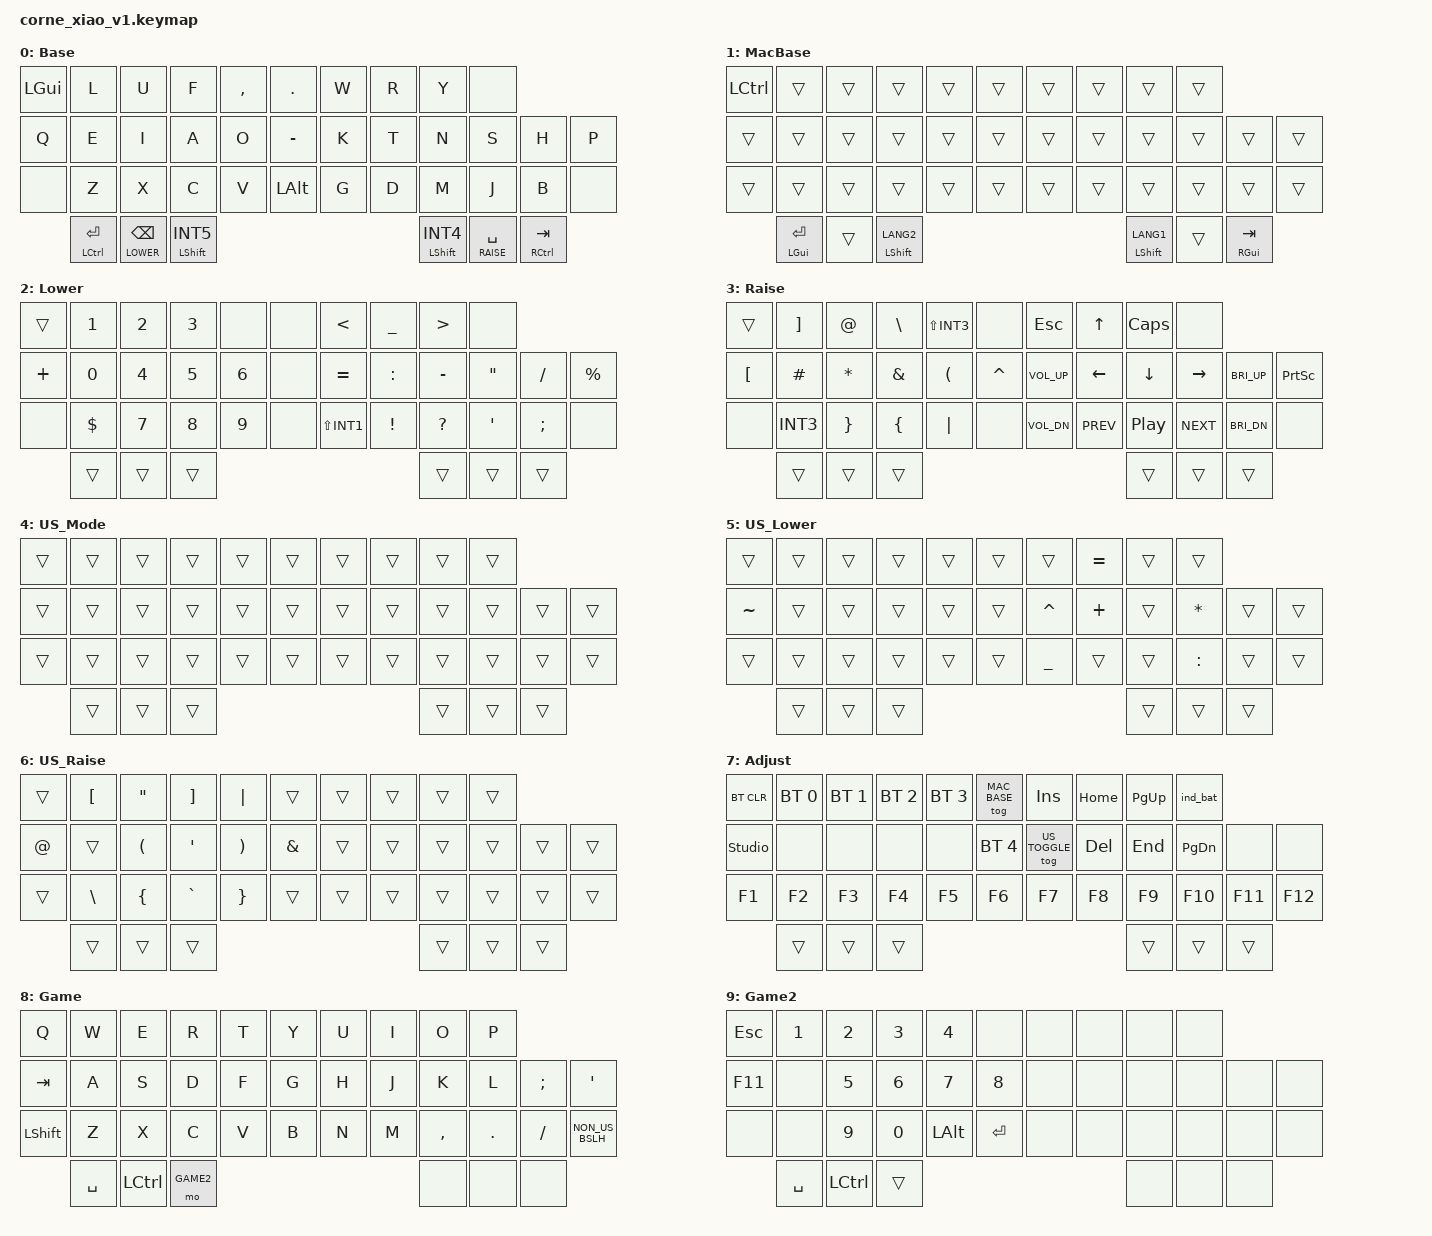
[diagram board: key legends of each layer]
/* source: 1-5 (User Provided Definitions) */
#define JP_DQUOTE       AT                // "
#define JP_AMPERSAND    CARET             // &
#define JP_QUOTE        AMPERSAND         // '
#define JP_EQUAL        UNDER             // =
#define JP_CARET        EQUAL             // ^
#define JP_YEN          INT3              // ¥ (ZMK standard usually matches this to correct scancode)
#define JP_PLUS         COLON             // +
#define JP_TILDE        PLUS              // ~
#define JP_PIPE         LS(INT3)          // |
#define JP_AT           LEFT_BRACKET      // @
#define JP_COLON        SINGLE_QUOTE      // :
#define JP_ASTERISK     DOUBLE_QUOTES     // *
#define JP_BACKQUOTE    LEFT_BRACE        // `
#define JP_UNDERSCORE   LS(INT1)          // _ (Standard JIS underscore)
#define JP_LBRACKET     RIGHT_BRACKET     // [
#define JP_RBRACKET     BACKSLASH         // ]
#define JP_LPAREN       ASTERISK          // (
#define JP_RPAREN       LEFT_PARENTHESIS  // )
#define JP_LBRACE       RIGHT_BRACE       // {
#define JP_RBRACE       PIPE              // }
#define JP_KANA         INT4             // かな
#define JP_EISU         INT5             // 英数
#define JP_HANZEN       GRAVE             // 半角/全角

#include <behaviors.dtsi>
#include <dt-bindings/zmk/keys.h>
#include <dt-bindings/zmk/bt.h>
#include <dt-bindings/zmk/pointing.h> // マウスキー用
#include <behaviors/rgbled_widget.dtsi>

/* レイヤー定義 */
#define BASE 0
#define MAC_BASE 1
#define LOWER 2
#define RAISE 3
#define US_TOGGLE 4
#define US_LOWER 5
#define US_RAISE 6
#define ADJUST 7
#define GAME 8
#define GAME2 9

/ {
    behaviors {
        /* 親指用 Mod-Tap (Ctrl/Tab, Ctrl/Enter) */
        mt_thumb: thumb_mod_tap {
            compatible = "zmk,behavior-hold-tap";
            label = "THUMB_MOD_TAP";
            #binding-cells = <2>;
            flavor = "hold-preferred";           // 親指はホールド優先
            tapping-term-ms = <200>;
            bindings = <&kp>, <&kp>;
        };

        /* Use for Backspace: Tap = BSPC, Hold = Layer, Quick-Tap = Repeat BSPC */
        lt_bspc: layer_tap_backspace {
            compatible = "zmk,behavior-hold-tap";
            label = "LAYER_TAP_BACKSPACE";
            #binding-cells = <2>;
            flavor = "balanced";
            tapping-term-ms = <200>;
            quick-tap-ms = <175>;
            bindings = <&mo>, <&kp>;
        };

        /* Improved Layer-Tap for Arrows (Raise/Space) */
        lt_raise: layer_tap_raise {
            compatible = "zmk,behavior-hold-tap";
            label = "LAYER_TAP_RAISE";
            #binding-cells = <2>;
            flavor = "balanced";                 // Balanced for easier activation of layer
            tapping-term-ms = <200>;
            quick-tap-ms = <175>;
            bindings = <&mo>, <&kp>;
        };
    };

    combos {
        compatible = "zmk,combos";

        /* C + V + D + M = Gaming Layer Toggle */
        /* Positions: C=25, V=26, D=29, M=30 */
        combo_gamemode {
            timeout-ms = <50>;
            key-positions = <25 26 29 30>;
            bindings = <&tog GAME>;
            layers = <BASE MAC_BASE GAME>;
        };
    };

    /* Conditional Layer: Lower + Raise = Adjust, plus US overrides */
    conditional_layers {
        compatible = "zmk,conditional-layers";

        us_lower_cond {
            if-layers = <LOWER US_TOGGLE>;
            then-layer = <US_LOWER>;
        };
        
        us_raise_cond {
            if-layers = <RAISE US_TOGGLE>;
            then-layer = <US_RAISE>;
        };

        tri_layer {
            if-layers = <LOWER RAISE>;
            then-layer = <ADJUST>;
        };
    };

    keymap {
        compatible = "zmk,keymap";

        /* Layer 0: Base */
        default_layer {
            display-name = "Base";
            bindings = <
/* TOP */  &kp LGUI    &kp L      &kp U       &kp F       &kp COMMA      &kp DOT      &kp W       &kp R       &kp Y        &none
/* MID */  &kp Q       &kp E      &kp I       &kp A       &kp O          &kp MINUS    &kp K       &kp T          &kp N          &kp S     &kp H     &kp P
/* BOT */  &none       &kp Z      &kp X       &kp C       &kp V          &kp LALT     &kp G       &kp D       &kp M        &kp J     &kp B     &none
/* THUMB */            &mt_thumb LCTRL RET    &lt_bspc LOWER BSPC  &mt_thumb LSHIFT JP_EISU  &mt_thumb LSHIFT JP_KANA  &lt_raise RAISE SPACE  &mt_thumb RCTRL TAB
            >;
        };

        /* Layer 1: Mac Base (Overlay for modifiers) */
        mac_base_layer {
            display-name = "MacBase";
            bindings = <
/* TOP */  &kp LCTRL   &trans     &trans      &trans      &trans         &trans       &trans      &trans      &trans       &trans
/* MID */  &trans      &trans     &trans      &trans      &trans         &trans       &trans      &trans      &trans       &trans    &trans    &trans
/* BOT */  &trans      &trans     &trans      &trans      &trans         &trans       &trans      &trans      &trans       &trans    &trans    &trans
/* THUMB */            &mt_thumb LGUI RET     &trans      &mt_thumb LSHIFT LANG2  &mt_thumb LSHIFT LANG1  &trans      &mt_thumb RGUI TAB
            >;
        };

        /* Layer 2: Lower (Backspace hold) */
        lower_layer {
            display-name = "Lower";
            bindings = <
/* TOP */  &trans      &kp N1     &kp N2      &kp N3      &none          &none        &kp LESS_THAN &kp JP_EQUAL  &kp GREATER_THAN &none
/* MID */  &kp JP_TILDE &kp N0    &kp N4      &kp N5      &kp N6         &none        &kp JP_CARET  &kp JP_PLUS &kp MINUS    &kp JP_ASTERISK &kp FSLH &kp PRCNT
/* BOT */  &none       &kp DOLLAR &kp N7      &kp N8      &kp N9         &none        &kp JP_UNDERSCORE &kp EXCL &kp QMARK   &kp JP_COLON  &kp SEMI &none
/* THUMB */            &trans                 &trans      &trans             &trans       &trans          &trans
            >;
        };

        /* Layer 3: Raise (Space hold) */
        raise_layer {
            display-name = "Raise";
            bindings = <
/* TOP */  &trans      &kp JP_LBRACKET &kp JP_DQUOTE &kp JP_RBRACKET &kp JP_PIPE  &none        &kp ESC      &kp UP       &kp CAPSLOCK    &none
/* MID */  &kp JP_AT   &kp HASH        &kp JP_LPAREN &kp JP_QUOTE    &kp JP_RPAREN &kp JP_AMPERSAND &kp C_VOL_UP &kp LEFT     &kp DOWN        &kp RIGHT &kp C_BRI_UP &kp PSCRN
/* BOT */  &none       &kp JP_YEN      &kp JP_LBRACE &kp JP_BACKQUOTE &kp JP_RBRACE &none        &kp C_VOL_DN &kp C_PREV   &kp C_PP        &kp C_NEXT &kp C_BRI_DN &none
/* THUMB */            &trans                 &trans          &trans          &trans       &trans           &trans
            >;
        };

        /* Layer 4: US Toggle (Dummy state tracking) */
        us_toggle_layer {
            display-name = "US_Mode";
            bindings = <
/* TOP */  &trans      &trans     &trans      &trans      &trans         &trans       &trans      &trans      &trans       &trans
/* MID */  &trans      &trans     &trans      &trans      &trans         &trans       &trans      &trans      &trans       &trans    &trans    &trans
/* BOT */  &trans      &trans     &trans      &trans      &trans         &trans       &trans      &trans      &trans       &trans    &trans    &trans
/* THUMB */            &trans                 &trans      &trans             &trans       &trans          &trans
            >;
        };

        /* Layer 5: US Lower */
        us_lower_layer {
            display-name = "US_Lower";
            bindings = <
/* TOP */  &trans      &trans     &trans      &trans      &trans         &trans       &trans      &kp EQUAL   &trans       &trans
/* MID */  &kp TILDE   &trans     &trans      &trans      &trans         &trans       &kp CARET   &kp PLUS    &trans       &kp ASTERISK &trans    &trans
/* BOT */  &trans      &trans     &trans      &trans      &trans         &trans       &kp UNDER   &trans      &trans       &kp COLON    &trans    &trans
/* THUMB */            &trans                 &trans      &trans             &trans       &trans          &trans
            >;
        };

        /* Layer 6: US Raise */
        us_raise_layer {
            display-name = "US_Raise";
            bindings = <
/* TOP */  &trans      &kp LBKT   &kp DQT     &kp RBKT    &kp PIPE       &trans       &trans       &trans       &trans          &trans
/* MID */  &kp AT      &trans     &kp LPAR    &kp SQT     &kp RPAR       &kp AMPS     &trans       &trans       &trans          &trans    &trans    &trans
/* BOT */  &trans      &kp BSLH   &kp LBRC    &kp GRAVE   &kp RBRC       &trans       &trans       &trans       &trans          &trans    &trans    &trans
/* THUMB */            &trans                 &trans      &trans             &trans       &trans           &trans
            >;
        };

        /* Layer 7: Adjust (Back + Space hold) */
        adjust_layer {
            display-name = "Adjust";
            bindings = <
/* TOP */  &bt BT_CLR  &bt BT_SEL 0    &bt BT_SEL 1  &bt BT_SEL 2    &bt BT_SEL 3   &tog MAC_BASE  &kp INS      &kp HOME     &kp PG_UP     &ind_bat
/* MID */  &studio_unlock       &none           &none         &none           &none         &bt BT_SEL 4 &tog US_TOGGLE &kp DEL      &kp END   &kp PG_DN &none  &none
/* BOT */  &kp F1      &kp F2          &kp F3        &kp F4          &kp F5         &kp F6       &kp F7       &kp F8       &kp F9    &kp F10   &kp F11 &kp F12
/* THUMB */            &trans                 &trans          &trans          &trans       &trans           &trans
            >;
        };

        /* Layer 8: Gaming (Combo C+V+D+M toggle) */
        gaming_layer {
            display-name = "Game";
            bindings = <
/* TOP */  &kp Q       &kp W      &kp E       &kp R       &kp T          &kp Y        &kp U        &kp I        &kp O        &kp P
/* MID */  &kp TAB     &kp A      &kp S       &kp D       &kp F          &kp G        &kp H        &kp J        &kp K        &kp L     &kp SEMI  &kp JP_COLON
/* BOT */  &kp LSHIFT  &kp Z      &kp X       &kp C       &kp V          &kp B        &kp N        &kp M        &kp COMMA    &kp DOT   &kp FSLH  &kp NON_US_BSLH
/* THUMB */            &kp SPACE              &kp LCTRL   &mo GAME2          &none        &none        &none
            >;
        };

        /* Layer 10: Gaming 2 (Hold Thumb 3 on Game Layer) */
        gaming2_layer {
            display-name = "Game2";
            bindings = <
/* TOP */  &kp ESC     &kp N1     &kp N2      &kp N3      &kp N4         &none        &none        &none        &none        &none
/* MID */  &kp F11     &none      &kp N5      &kp N6      &kp N7         &kp N8       &none        &none        &none        &none     &none     &none
/* BOT */  &none       &none      &kp N9      &kp N0      &kp LALT       &kp RET      &none        &none        &none        &none     &none     &none
/* THUMB */            &kp SPACE              &kp LCTRL   &trans             &none        &none        &none
            >;
        };
    };
};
